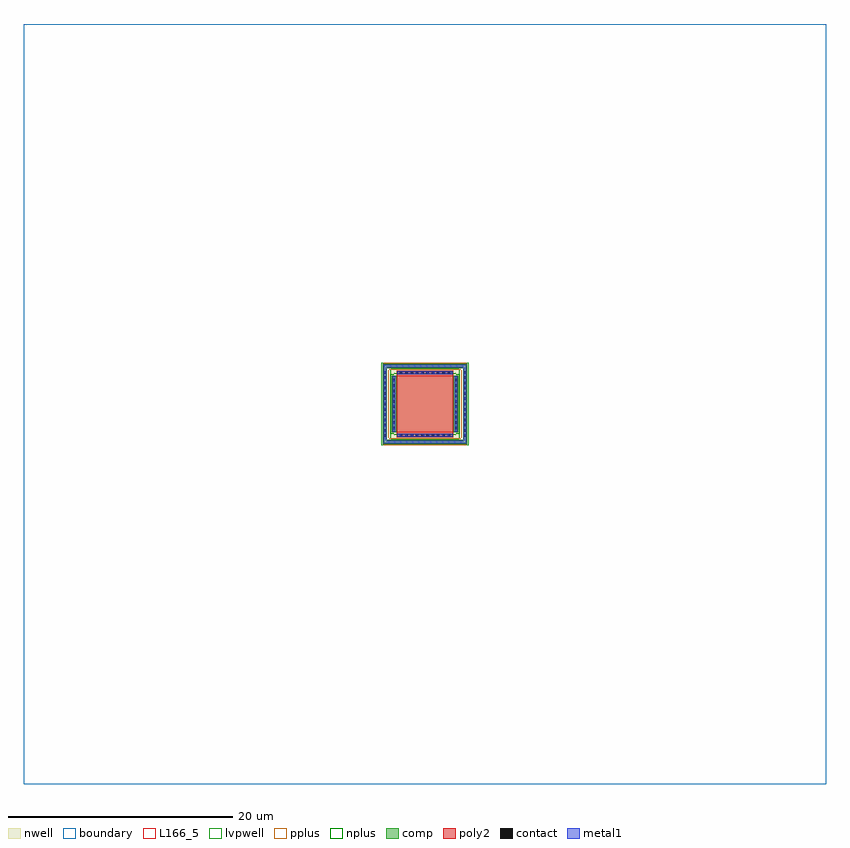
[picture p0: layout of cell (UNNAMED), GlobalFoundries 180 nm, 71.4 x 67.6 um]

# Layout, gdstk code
import gdstk
lib = gdstk.Library(unit=1e-6, precision=1e-09)
def R(c, l, rs):  # rectangles x0, y0, x1, y1
    for r in rs: c.add(gdstk.rectangle(r[:2], r[2:], *l))
def A(c, l, x, y, w, h, nx, ny, dx, dy):  # array of equal rectangles
    R(c, l, [(x+i*dx, y+j*dy, x+i*dx+w, y+j*dy+h) for i in range(nx) for j in range(ny)])
boundary = (0, 0)
nwell = (21, 0)
comp = (22, 0)
poly2 = (30, 0)
pplus = (31, 0)
nplus = (32, 0)
contact = (33, 0)
metal1 = (34, 0)
L166_5 = (166, 5)
lvpwell = (204, 0)

c__unnamed_ = lib.new_cell('(UNNAMED)')
R(c__unnamed_, boundary, [(-35.7,-33.8,35.7,33.8)])
R(c__unnamed_, nwell, [(-3.06,-3.08,3.06,3.08)])
R(c__unnamed_, comp, [(-3.75,-3.56,3.75,-3.2), (-3.75,-3.2,-3.39,3.2), (3.39,-3.2,3.75,3.2), (-2.94,-2.5,-2.5,2.5), (2.5,-2.5,2.94,2.5), (-3.75,3.2,3.75,3.56)])
R(c__unnamed_, poly2, [(-2.5,-2.96,2.5,2.96)])
R(c__unnamed_, pplus, [(-3.65,-3.67,3.65,-3.58), (-3.77,-3.58,3.77,-3.075), (-3.78,-3.075,3.78,-3.04), (-3.78,-3.04,-3.23,3.04), (3.23,-3.04,3.78,3.04), (-3.78,3.04,3.78,3.075), (-3.77,3.075,3.77,3.58), (-3.65,3.58,3.65,3.67)])
R(c__unnamed_, nplus, [(-2.73,-2.73,2.73,-2.66), (-3.1,-2.66,3.1,2.66), (-2.73,2.66,2.73,2.73)])
A(c__unnamed_, contact, -3.68, -2.93, 0.22, 0.22, 1, 13, 0, 0.47)
A(c__unnamed_, contact, 3.46, -2.93, 0.22, 0.22, 1, 13, 0, 0.47)
A(c__unnamed_, contact, -2.225, -2.89, 0.22, 0.22, 10, 2, 0.47, 5.56)
A(c__unnamed_, contact, -2.87, -2.225, 0.22, 0.22, 1, 10, 0, 0.47)
A(c__unnamed_, contact, 2.65, -2.225, 0.22, 0.22, 1, 10, 0, 0.47)
R(c__unnamed_, metal1, [(-3.685,-3.495,3.685,-3.265), (-3.685,-3.265,-3.455,3.265), (3.455,-3.265,3.685,3.265), (-2.49,-2.895,2.49,-2.665), (-2.875,-2.49,-2.645,2.49), (2.645,-2.49,2.875,2.49), (-2.49,2.665,2.49,2.895), (-3.685,3.265,3.685,3.495)])
R(c__unnamed_, L166_5, [(-2.5,-2.5,2.5,2.5)])
R(c__unnamed_, lvpwell, [(-3.87,-3.68,3.87,-3.08), (-3.87,-3.08,-3.06,3.08), (3.06,-3.08,3.87,3.08), (-3.87,3.08,3.87,3.68)])

lib.write_gds('_UNNAMED_.gds')
